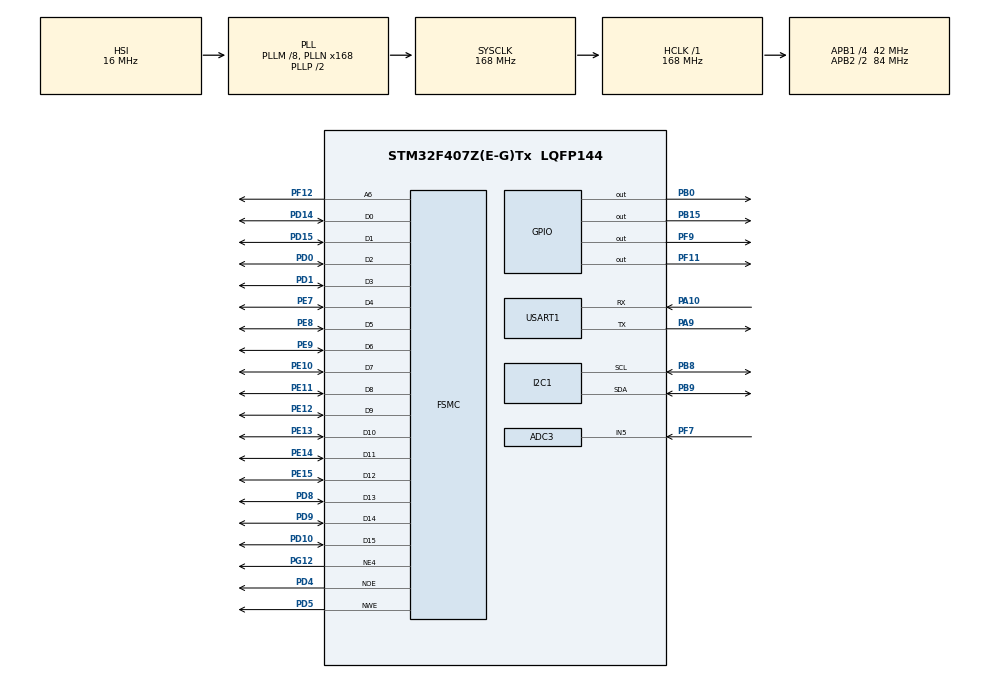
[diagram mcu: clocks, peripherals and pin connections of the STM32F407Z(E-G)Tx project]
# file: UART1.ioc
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ADC1.Channel-0\#ChannelRegularConversion=ADC_CHANNEL_TEMPSENSOR
ADC1.ContinuousConvMode=ENABLE
ADC1.DMAContinuousRequests=ENABLE
ADC1.EnableAnalogWatchDog=false
ADC1.NbrOfConversionFlag=1
ADC1.Rank-0\#ChannelRegularConversion=1
ADC1.SamplingTime-0\#ChannelRegularConversion=ADC_SAMPLETIME_480CYCLES
ADC1.master=1
ADC3.Channel-0\#ChannelRegularConversion=ADC_CHANNEL_5
ADC3.ContinuousConvMode=ENABLE
ADC3.DMAContinuousRequests=ENABLE
ADC3.EnableAnalogWatchDog=false
ADC3.NbrOfConversionFlag=1
ADC3.Rank-0\#ChannelRegularConversion=1
ADC3.SamplingTime-0\#ChannelRegularConversion=ADC_SAMPLETIME_480CYCLES
Dma.ADC1.0.Direction=DMA_PERIPH_TO_MEMORY
Dma.ADC1.0.FIFOMode=DMA_FIFOMODE_DISABLE
Dma.ADC1.0.Instance=DMA2_Stream0
Dma.ADC1.0.MemDataAlignment=DMA_MDATAALIGN_HALFWORD
Dma.ADC1.0.MemInc=DMA_MINC_ENABLE
Dma.ADC1.0.Mode=DMA_CIRCULAR
Dma.ADC1.0.PeriphDataAlignment=DMA_PDATAALIGN_HALFWORD
Dma.ADC1.0.PeriphInc=DMA_PINC_DISABLE
Dma.ADC1.0.Priority=DMA_PRIORITY_HIGH
Dma.ADC3.1.Direction=DMA_PERIPH_TO_MEMORY
Dma.ADC3.1.FIFOMode=DMA_FIFOMODE_DISABLE
Dma.ADC3.1.Instance=DMA2_Stream1
Dma.ADC3.1.MemDataAlignment=DMA_MDATAALIGN_HALFWORD
Dma.ADC3.1.MemInc=DMA_MINC_ENABLE
Dma.ADC3.1.Mode=DMA_CIRCULAR
Dma.ADC3.1.PeriphDataAlignment=DMA_PDATAALIGN_HALFWORD
Dma.ADC3.1.PeriphInc=DMA_PINC_DISABLE
Dma.ADC3.1.Priority=DMA_PRIORITY_LOW
Dma.Request0=ADC1
Dma.Request1=ADC3
FREERTOS.Tasks01=defaultTask,24,128,StartDefaultTask,Default,NULL,Dynamic,NULL,NULL
FSMC.AddressSetupTime4=2
FSMC.BusTurnAroundDuration4=0
FSMC.DataSetupTime4=15
FSMC.ExtendedAddressSetupTime4=4
FSMC.ExtendedBusTurnAroundDuration4=0
FSMC.ExtendedDataSetupTime4=9
FSMC.ExtendedMode4=FSMC_EXTENDED_MODE_ENABLE
Mcu.Family=STM32F4
Mcu.Name=STM32F407Z(E-G)Tx
Mcu.Package=LQFP144
NVIC.ADC_IRQn=true\:5\:0\:false\:false\:true\:true\:true\:true\:true
NVIC.DMA2_Stream0_IRQn=true\:5\:0\:false\:false\:true\:true\:false\:true\:true
NVIC.DMA2_Stream1_IRQn=true\:5\:0\:false\:false\:true\:true\:false\:true\:true
NVIC.PriorityGroup=NVIC_PRIORITYGROUP_4
NVIC.TIM1_UP_TIM10_IRQn=true\:15\:0\:false\:false\:true\:false\:false\:true\:true
NVIC.TimeBase=TIM1_UP_TIM10_IRQn
NVIC.TimeBaseIP=TIM1
PA10.Mode=Asynchronous
PA10.Signal=USART1_RX
PA13.Mode=Serial_Wire
PA13.Signal=SYS_JTMS-SWDIO
PA14.Mode=Serial_Wire
PA14.Signal=SYS_JTCK-SWCLK
PA9.Mode=Asynchronous
PA9.Signal=USART1_TX
PB0.GPIO_ModeDefaultOutputPP=GPIO_MODE_OUTPUT_OD
PB0.GPIO_PuPd=GPIO_PULLUP
PB0.GPIO_Speed=GPIO_SPEED_FREQ_HIGH
PB0.Signal=GPIO_Output
PB15.GPIO_PuPd=GPIO_PULLDOWN
PB15.Signal=GPIO_Output
PB8.Mode=I2C
PB8.Signal=I2C1_SCL
PB9.Mode=I2C
PB9.Signal=I2C1_SDA
PD0.Signal=FSMC_D2_DA2
PD1.Signal=FSMC_D3_DA3
PD10.Signal=FSMC_D15_DA15
PD14.Signal=FSMC_D0_DA0
PD15.Signal=FSMC_D1_DA1
PD4.Signal=FSMC_NOE
PD5.Signal=FSMC_NWE
PD8.Signal=FSMC_D13_DA13
PD9.Signal=FSMC_D14_DA14
PE10.Signal=FSMC_D7_DA7
PE11.Signal=FSMC_D8_DA8
PE12.Signal=FSMC_D9_DA9
PE13.Signal=FSMC_D10_DA10
PE14.Signal=FSMC_D11_DA11
PE15.Signal=FSMC_D12_DA12
PE7.Signal=FSMC_D4_DA4
PE8.Signal=FSMC_D5_DA5
PE9.Signal=FSMC_D6_DA6
PF11.GPIO_ModeDefaultOutputPP=GPIO_MODE_OUTPUT_OD
PF11.GPIO_PuPd=GPIO_PULLUP
PF11.GPIO_Speed=GPIO_SPEED_FREQ_HIGH
PF11.Signal=GPIO_Output
PF12.Signal=FSMC_A6
PF7.Mode=IN5
PF7.Signal=ADC3_IN5
PF9.PinState=GPIO_PIN_SET
PF9.Signal=GPIO_Output
PG12.Mode=NorPsramChipSelect4_4
PG12.Signal=FSMC_NE4
PH0-OSC_IN.Mode=HSE-External-Clock-Source
PH0-OSC_IN.Signal=RCC_OSC_IN
PH1-OSC_OUT.Mode=HSE-External-Clock-Source
PH1-OSC_OUT.Signal=RCC_OSC_OUT
ProjectManager.HeapSize=0x8000
ProjectManager.StackSize=0x8000
ProjectManager.TargetToolchain=MDK-ARM V5.32
RCC.48MHZClocksFreq_Value=84000000
RCC.AHBFreq_Value=168000000
RCC.APB1CLKDivider=RCC_HCLK_DIV4
RCC.APB1Freq_Value=42000000
RCC.APB1TimFreq_Value=84000000
RCC.APB2CLKDivider=RCC_HCLK_DIV2
RCC.APB2Freq_Value=84000000
RCC.APB2TimFreq_Value=168000000
RCC.CortexFreq_Value=168000000
RCC.HCLKFreq_Value=168000000
RCC.HSE_VALUE=25000000
RCC.HSI_VALUE=16000000
RCC.LSE_VALUE=32768
RCC.PLLM=8
RCC.PLLN=168
RCC.SYSCLKFreq_VALUE=168000000
RCC.SYSCLKSource=RCC_SYSCLKSOURCE_PLLCLK
RCC.VCOOutputFreq_Value=336000000
SH.FSMC_A6.0=FSMC_A6,A6_4
SH.FSMC_D0_DA0.0=FSMC_D0,16b-d4
SH.FSMC_D10_DA10.0=FSMC_D10,16b-d4
SH.FSMC_D11_DA11.0=FSMC_D11,16b-d4
SH.FSMC_D12_DA12.0=FSMC_D12,16b-d4
SH.FSMC_D13_DA13.0=FSMC_D13,16b-d4
SH.FSMC_D14_DA14.0=FSMC_D14,16b-d4
SH.FSMC_D15_DA15.0=FSMC_D15,16b-d4
SH.FSMC_D1_DA1.0=FSMC_D1,16b-d4
SH.FSMC_D2_DA2.0=FSMC_D2,16b-d4
SH.FSMC_D3_DA3.0=FSMC_D3,16b-d4
SH.FSMC_D4_DA4.0=FSMC_D4,16b-d4
SH.FSMC_D5_DA5.0=FSMC_D5,16b-d4
SH.FSMC_D6_DA6.0=FSMC_D6,16b-d4
SH.FSMC_D7_DA7.0=FSMC_D7,16b-d4
SH.FSMC_D8_DA8.0=FSMC_D8,16b-d4
SH.FSMC_D9_DA9.0=FSMC_D9,16b-d4
SH.FSMC_NOE.0=FSMC_NOE,Lcd4
SH.FSMC_NWE.0=FSMC_NWE,Lcd4
USART1.VirtualMode=VM_ASYNC
VP_ADC1_TempSens_Input.Mode=IN-TempSens
VP_FREERTOS_VS_CMSIS_V2.Mode=CMSIS_V2
VP_SYS_VS_tim1.Mode=TIM1
board=custom

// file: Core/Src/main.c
/* USER CODE BEGIN Header */
/**
  ******************************************************************************
  * @file           : main.c
  * @brief          : Main program body
  ******************************************************************************
  * @attention
  *
  * Copyright (c) 2026 STMicroelectronics.
  * All rights reserved.
  *
  * This software is licensed under terms that can be found in the LICENSE file
  * in the root directory of this software component.
  * If no LICENSE file comes with this software, it is provided AS-IS.
  *
  ******************************************************************************
  */
/* USER CODE END Header */
#include "main.h"
#include "cmsis_os.h"
#include "adc.h"
#include "dma.h"
#include "i2c.h"
#include "usart.h"
#include "gpio.h"
#include "fsmc.h"

/* USER CODE BEGIN Includes */

#include "stm32f4xx_hal_adc_ex.h"
#include <stdio.h>
#include "LightSensor.h"
#include "Temperature.h"
#include "lcd.h"
#include "delay.h"
#include "touch.h"
#include "QMA6100P.h"
#include "lvgl_demo.h"

/* USER CODE END Includes */

void SystemClock_Config(void);
void MX_FREERTOS_Init(void);

int main(void)
{

  /* MCU Configuration--------------------------------------------------------*/

  /* Reset of all peripherals, Initializes the Flash interface and the Systick. */
  HAL_Init();

  /* Configure the system clock */
  SystemClock_Config();

  /* Initialize all configured peripherals */
  MX_GPIO_Init();
  MX_DMA_Init();
  MX_USART1_UART_Init();
  MX_ADC1_Init();
  MX_ADC3_Init();
  MX_I2C1_Init();
  MX_FSMC_Init();
  /* USER CODE BEGIN 2 */

	Tem_init();
	Lig_init();
	QMA6100P_Init();
	delay_init(168);

  /* USER CODE END 2 */

  /* Init scheduler */
  osKernelInitialize();  /* Call init function for freertos objects (in cmsis_os2.c) */
//  MX_FREERTOS_Init();
	lvgl_demo();
  /* Start scheduler */
  osKernelStart();

  /* We should never get here as control is now taken by the scheduler */

  /* Infinite loop */
  while (1)
  {

    /* USER CODE BEGIN 3 */
//

//
//

//		printf("CPU Temp:%.2f C\r\n",Tem);
//		printf("Lig:%d\r\n",Lig);
//		printf("x:%d y:%d z:%d\r\n",imu_val.x_data,imu_val.y_data,imu_val.z_data);

    }

  /* USER CODE END 3 */
}

void SystemClock_Config(void)
{
  RCC_OscInitTypeDef RCC_OscInitStruct = {0};
  RCC_ClkInitTypeDef RCC_ClkInitStruct = {0};

  /** Configure the main internal regulator output voltage
  */
  __HAL_RCC_PWR_CLK_ENABLE();
  __HAL_PWR_VOLTAGESCALING_CONFIG(PWR_REGULATOR_VOLTAGE_SCALE1);

  /** Initializes the RCC Oscillators according to the specified parameters
  * in the RCC_OscInitTypeDef structure.
  */
  RCC_OscInitStruct.OscillatorType = RCC_OSCILLATORTYPE_HSI;
  RCC_OscInitStruct.HSIState = RCC_HSI_ON;
  RCC_OscInitStruct.HSICalibrationValue = RCC_HSICALIBRATION_DEFAULT;
  RCC_OscInitStruct.PLL.PLLState = RCC_PLL_ON;
  RCC_OscInitStruct.PLL.PLLSource = RCC_PLLSOURCE_HSI;
  RCC_OscInitStruct.PLL.PLLM = 8;
  RCC_OscInitStruct.PLL.PLLN = 168;
  RCC_OscInitStruct.PLL.PLLP = RCC_PLLP_DIV2;
  RCC_OscInitStruct.PLL.PLLQ = 4;
  if (HAL_RCC_OscConfig(&RCC_OscInitStruct) != HAL_OK)
  {
    Error_Handler();
  }

  /** Initializes the CPU, AHB and APB buses clocks
  */
  RCC_ClkInitStruct.ClockType = RCC_CLOCKTYPE_HCLK|RCC_CLOCKTYPE_SYSCLK
                              |RCC_CLOCKTYPE_PCLK1|RCC_CLOCKTYPE_PCLK2;
  RCC_ClkInitStruct.SYSCLKSource = RCC_SYSCLKSOURCE_PLLCLK;
  RCC_ClkInitStruct.AHBCLKDivider = RCC_SYSCLK_DIV1;
  RCC_ClkInitStruct.APB1CLKDivider = RCC_HCLK_DIV4;
  RCC_ClkInitStruct.APB2CLKDivider = RCC_HCLK_DIV2;

  if (HAL_RCC_ClockConfig(&RCC_ClkInitStruct, FLASH_LATENCY_5) != HAL_OK)
  {
    Error_Handler();
  }
}

/* USER CODE BEGIN 4 */

/* 重定义fputc函数, printf函数最终会通过调用fputc输出字符串到串口 */
int fputc(int ch, FILE *f)
{
    while ((USART1->SR & 0X40) == 0);               /* 等待上一个字符发送完成 */

    USART1->DR = (uint8_t)ch;                       /* 将要发送的字符 ch 写入到DR寄存器 */
    return ch;
}

/* USER CODE END 4 */

void HAL_TIM_PeriodElapsedCallback(TIM_HandleTypeDef *htim)
{
  if (htim->Instance == TIM1)
  {
    HAL_IncTick();
  }
}

void Error_Handler(void)
{
  __disable_irq();
  while (1)
  {
  }
}

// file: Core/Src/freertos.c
/* USER CODE BEGIN Header */
/**
  ******************************************************************************
  * File Name          : freertos.c
  * Description        : Code for freertos applications
  ******************************************************************************
  * @attention
  *
  * Copyright (c) 2026 STMicroelectronics.
  * All rights reserved.
  *
  * This software is licensed under terms that can be found in the LICENSE file
  * in the root directory of this software component.
  * If no LICENSE file comes with this software, it is provided AS-IS.
  *
  ******************************************************************************
  */
/* USER CODE END Header */

#include "FreeRTOS.h"
#include "task.h"
#include "main.h"
#include "cmsis_os.h"

/* USER CODE BEGIN Includes */

#include "lcd.h"
#include "delay.h"
#include "touch.h"
#include "main.h"
#include "lvgl.h"

/* USER CODE END Includes */

/* Definitions for defaultTask */
osThreadId_t defaultTaskHandle;
const osThreadAttr_t defaultTask_attributes = {
  .name = "defaultTask",
  .stack_size = 512 * 4,
  .priority = (osPriority_t) osPriorityNormal,
};

void StartDefaultTask(void *argument);

void MX_FREERTOS_Init(void); /* (MISRA C 2004 rule 8.1) */

void MX_FREERTOS_Init(void) {

  /* Create the thread(s) */
  /* creation of defaultTask */
	//默认任务
  defaultTaskHandle = osThreadNew(StartDefaultTask, NULL, &defaultTask_attributes);

}

void StartDefaultTask(void *argument)
{

  /* USER CODE BEGIN StartDefaultTask */
  /* Infinite loop */
  for(;;)
  {
//    load_draw_dialog();
//
//    if (tp_dev.touchtype & 0x80)
//    {
//        ctp_test(); /* ���������� */
//    }
//
//    osDelay(1);

  }
  /* USER CODE END StartDefaultTask */
}
